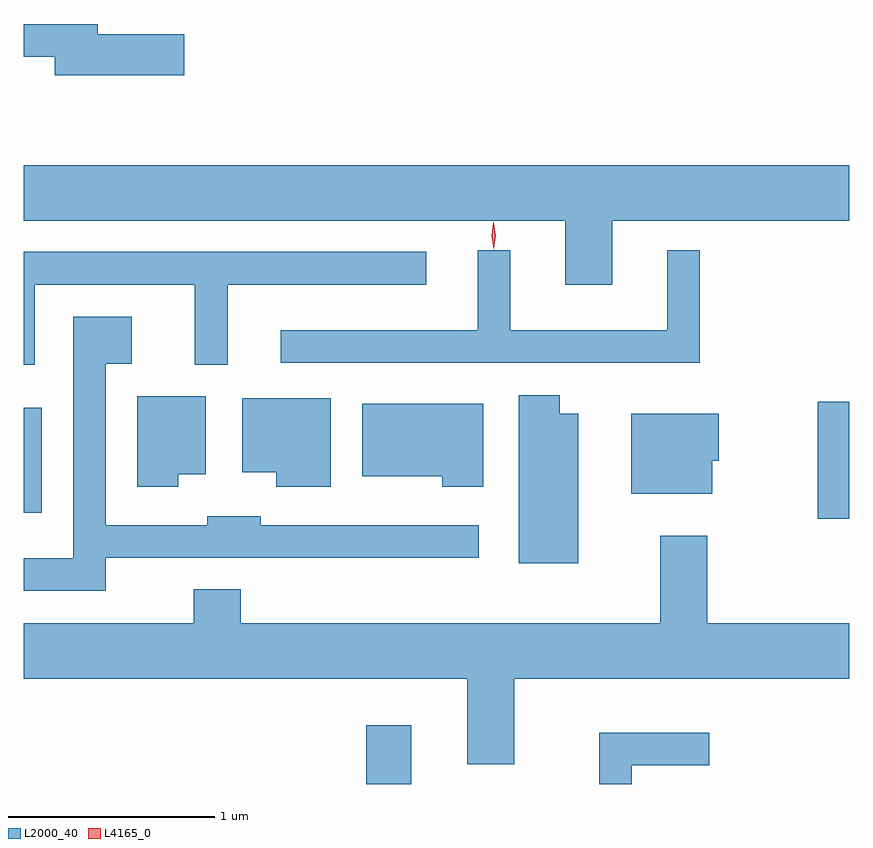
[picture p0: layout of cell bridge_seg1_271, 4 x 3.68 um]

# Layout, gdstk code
import gdstk
lib = gdstk.Library(unit=1e-6, precision=1e-09)
def R(c, l, rs):  # rectangles x0, y0, x1, y1
    for r in rs: c.add(gdstk.rectangle(r[:2], r[2:], *l))
def P(c, l, *ps):  # polygons
    for p in ps: c.add(gdstk.Polygon(p, *l))
L2000_40 = (2000, 40)
L4165_0 = (4165, 0)

bridge_seg1_271 = lib.new_cell('bridge_seg1_271')
R(bridge_seg1_271, L2000_40, [(899.796,890.185,900.014,890.469), (901.986,891.471,902.137,892.039), (898.137,891.501,898.224,892.009)])
P(bridge_seg1_271, L2000_40, [(898.914,893.819),(898.494,893.819),(898.494,893.869),(898.137,893.869),(898.137,893.711),(898.286,893.711),(898.286,893.621),(898.914,893.621)],
  [(900.989,892.916),(902.137,892.916),(902.137,893.184),(898.137,893.184),(898.137,892.916),(900.761,892.916),(900.761,892.606),(900.989,892.606)],
  [(901.414,892.773),(901.256,892.773),(901.256,892.384),(900.494,892.384),(900.494,892.773),(900.336,892.773),(900.336,892.384),(899.383,892.384),(899.383,892.226),(901.414,892.226)],
  [(898.189,892.606),(898.966,892.606),(898.966,892.218),(899.124,892.218),(899.124,892.606),(900.088,892.606),(900.088,892.764),(898.137,892.764),(898.137,892.218),(898.189,892.218)],
  [(898.534,891.281),(900.343,891.281),(900.343,891.439),(899.284,891.439),(899.284,891.484),(899.026,891.484),(899.026,891.439),(898.534,891.439),(898.534,892.221),(898.659,892.221),(898.659,892.449),(898.376,892.449),(898.376,891.279),(898.137,891.279),(898.137,891.121),(898.534,891.121)],
  [(900.824,891.979),(900.734,891.979),(900.734,892.069),(900.536,892.069),(900.536,891.256),(900.824,891.256)],
  [(898.884,891.686),(899.019,891.686),(899.019,892.064),(898.686,892.064),(898.686,891.626),(898.884,891.626)],
  [(899.624,892.054),(899.196,892.054),(899.196,891.696),(899.361,891.696),(899.361,891.626),(899.624,891.626)],
  [(900.364,892.029),(899.776,892.029),(899.776,891.676),(900.166,891.676),(900.166,891.626),(900.364,891.626)],
  [(901.474,891.751),(901.504,891.751),(901.504,891.979),(901.081,891.979),(901.081,891.591),(901.474,891.591)],
  [(900.514,890.696),(902.137,890.696),(902.137,890.964),(901.449,890.964),(901.449,891.389),(901.221,891.389),(901.221,890.964),(899.189,890.964),(899.189,891.129),(898.961,891.129),(898.961,890.964),(898.137,890.964),(898.137,890.696),(900.286,890.696),(900.286,890.281),(900.514,890.281)],
  [(901.084,890.276),(901.458,890.276),(901.458,890.434),(900.926,890.434),(900.926,890.185),(901.084,890.185)])
P(bridge_seg1_271, L4165_0, [(900.414,892.778),(900.414,892.778),(900.404,892.842),(900.413,892.906),(900.414,892.907),(900.414,892.906),(900.424,892.842),(900.415,892.778)])

lib.write_gds('bridge_seg1_271.gds')
